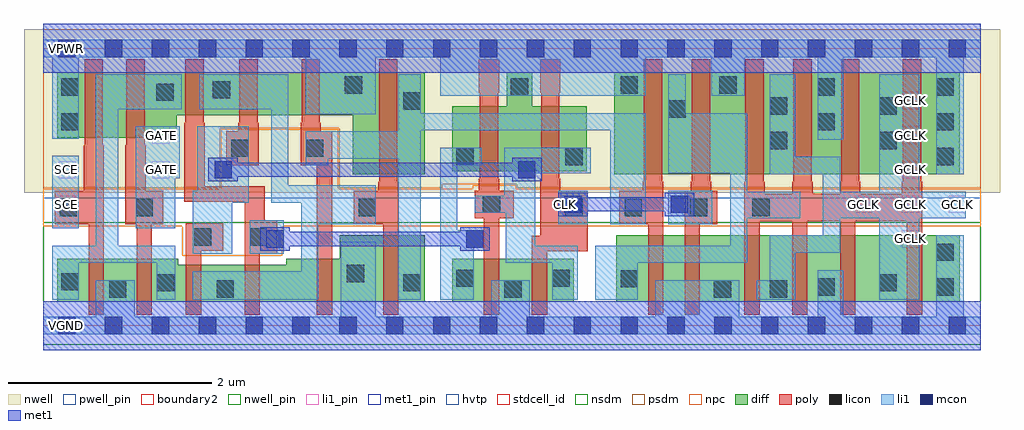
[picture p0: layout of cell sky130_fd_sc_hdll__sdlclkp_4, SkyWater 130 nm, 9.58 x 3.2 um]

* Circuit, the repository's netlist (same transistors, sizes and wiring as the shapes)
* Copyright 2020 The SkyWater PDK Authors
*
* Licensed under the Apache License, Version 2.0 (the "License");
* you may not use this file except in compliance with the License.
* You may obtain a copy of the License at
*
*     https://www.apache.org/licenses/LICENSE-2.0
*
* Unless required by applicable law or agreed to in writing, software
* distributed under the License is distributed on an "AS IS" BASIS,
* WITHOUT WARRANTIES OR CONDITIONS OF ANY KIND, either express or implied.
* See the License for the specific language governing permissions and
* limitations under the License.
*
* SPDX-License-Identifier: Apache-2.0

.SUBCKT sky130_fd_sc_hdll__sdlclkp_4 CLK GATE SCE VGND VNB VPB VPWR GCLK
*.PININFO CLK:I GATE:I SCE:I VGND:I VNB:I VPB:I VPWR:I GCLK:O
MI662 net88 m1 VPWR VPB sky130_fd_pr__pfet_01v8_hvt m=1 w=0.42U l=0.18U mult=1
+ sa=0.265 sb=0.265 sd=0.28 area=0.063 perim=1.14
MI664 M0 clkpos net88 VPB sky130_fd_pr__pfet_01v8_hvt m=1 w=0.42U l=0.18U mult=1
+ sa=0.265 sb=0.265 sd=0.28 area=0.063 perim=1.14
MI659 net76 CLK VPWR VPB sky130_fd_pr__pfet_01v8_hvt m=1 w=1.0U l=0.18U mult=1
+ sa=0.265 sb=0.265 sd=0.28 area=0.063 perim=1.14
MI658 net76 m1 VPWR VPB sky130_fd_pr__pfet_01v8_hvt m=1 w=1.0U l=0.18U mult=1 sa=0.265
+ sb=0.265 sd=0.28 area=0.063 perim=1.14
MI19 m1 M0 VPWR VPB sky130_fd_pr__pfet_01v8_hvt m=1 w=1.0U l=0.18U mult=1 sa=0.265
+ sb=0.265 sd=0.28 area=0.063 perim=1.14
MI22 net63 SCE VPWR VPB sky130_fd_pr__pfet_01v8_hvt m=1 w=0.64U l=0.18U mult=1
+ sa=0.265 sb=0.265 sd=0.28 area=0.063 perim=1.14
MI21 net116 GATE net63 VPB sky130_fd_pr__pfet_01v8_hvt m=1 w=0.64U l=0.18U mult=1
+ sa=0.265 sb=0.265 sd=0.28 area=0.063 perim=1.14
MI47 clkneg clkpos VPWR VPB sky130_fd_pr__pfet_01v8_hvt m=1 w=0.64U l=0.18U mult=1
+ sa=0.265 sb=0.265 sd=0.28 area=0.063 perim=1.14
MI45 clkpos CLK VPWR VPB sky130_fd_pr__pfet_01v8_hvt m=1 w=0.64U l=0.18U mult=1
+ sa=0.265 sb=0.265 sd=0.28 area=0.063 perim=1.14
MI660 GCLK net76 VPWR VPB sky130_fd_pr__pfet_01v8_hvt m=4 w=1.0U l=0.18U mult=1
+ sa=0.265 sb=0.265 sd=0.28 area=0.063 perim=1.14
MI43 net116 clkneg M0 VPB sky130_fd_pr__pfet_01v8_hvt m=1 w=0.42U l=0.18U mult=1
+ sa=0.265 sb=0.265 sd=0.28 area=0.063 perim=1.14
MI42 net116 clkpos M0 VNB sky130_fd_pr__nfet_01v8 m=1 w=0.36U l=0.15U mult=1 sa=0.265
+ sb=0.265 sd=0.28 area=0.063 perim=1.14
MI20 m1 M0 VGND VNB sky130_fd_pr__nfet_01v8 m=1 w=0.65U l=0.15U mult=1 sa=0.265
+ sb=0.265 sd=0.28 area=0.063 perim=1.14
MI655 M0 clkneg net123 VNB sky130_fd_pr__nfet_01v8 m=1 w=0.36U l=0.15U mult=1 sa=0.265
+ sb=0.265 sd=0.28 area=0.063 perim=1.14
MI654 net123 m1 VGND VNB sky130_fd_pr__nfet_01v8 m=1 w=0.42U l=0.15U mult=1 sa=0.265
+ sb=0.265 sd=0.28 area=0.063 perim=1.14
MI24 net116 SCE VGND VNB sky130_fd_pr__nfet_01v8 m=1 w=0.42U l=0.15U mult=1 sa=0.265
+ sb=0.265 sd=0.28 area=0.063 perim=1.14
MI657 net112 CLK VGND VNB sky130_fd_pr__nfet_01v8 m=1 w=0.65U l=0.15U mult=1 sa=0.265
+ sb=0.265 sd=0.28 area=0.063 perim=1.14
MI656 net76 m1 net112 VNB sky130_fd_pr__nfet_01v8 m=1 w=0.65U l=0.15U mult=1 sa=0.265
+ sb=0.265 sd=0.28 area=0.063 perim=1.14
MI23 net116 GATE VGND VNB sky130_fd_pr__nfet_01v8 m=1 w=0.42U l=0.15U mult=1 sa=0.265
+ sb=0.265 sd=0.28 area=0.063 perim=1.14
MI46 clkneg clkpos VGND VNB sky130_fd_pr__nfet_01v8 m=1 w=0.42U l=0.15U mult=1
+ sa=0.265 sb=0.265 sd=0.28 area=0.063 perim=1.14
MI44 clkpos CLK VGND VNB sky130_fd_pr__nfet_01v8 m=1 w=0.42U l=0.15U mult=1 sa=0.265
+ sb=0.265 sd=0.28 area=0.063 perim=1.14
MI653 GCLK net76 VGND VNB sky130_fd_pr__nfet_01v8 m=4 w=0.65U l=0.15U mult=1 sa=0.265
+ sb=0.265 sd=0.28 area=0.063 perim=1.14
.ENDS sky130_fd_sc_hdll__sdlclkp_4

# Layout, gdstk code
import gdstk
lib = gdstk.Library(unit=1e-6, precision=1e-09)
def R(c, l, rs):  # rectangles x0, y0, x1, y1
    for r in rs: c.add(gdstk.rectangle(r[:2], r[2:], *l))
def A(c, l, x, y, w, h, nx, ny, dx, dy):  # array of equal rectangles
    R(c, l, [(x+i*dx, y+j*dy, x+i*dx+w, y+j*dy+h) for i in range(nx) for j in range(ny)])
def P(c, l, *ps):  # polygons
    for p in ps: c.add(gdstk.Polygon(p, *l))
nwell_pin = (64, 16)
nwell = (64, 20)
diff = (65, 20)
poly = (66, 20)
licon = (66, 44)
li1_pin = (67, 16)
li1 = (67, 20)
mcon = (67, 44)
met1_pin = (68, 16)
met1 = (68, 20)
hvtp = (78, 44)
stdcell_id = (81, 4)
nsdm = (93, 44)
psdm = (94, 20)
npc = (95, 20)
pwell_pin = (122, 16)
boundary2 = (236, 0)

sky130_fd_sc_hdll__sdlcl = lib.new_cell('sky130_fd_sc_hdll__sdlclkp_4')
R(sky130_fd_sc_hdll__sdlcl, nwell_pin, [(0.15,2.635,0.32,2.805)])
R(sky130_fd_sc_hdll__sdlcl, nwell, [(-0.19,1.305,9.39,2.91)])
R(sky130_fd_sc_hdll__sdlcl, diff, [(4.015,0.235,5.205,0.655), (5.625,0.235,8.995,0.885), (5.605,1.485,8.995,2.485)])
P(sky130_fd_sc_hdll__sdlcl, diff, [(5.335,2.155),(4.8,2.155),(4.8,2.485),(4.55,2.485),(4.55,2.155),(4.015,2.155),(4.015,1.515),(5.335,1.515)],
  [(3.745,0.885),(2.91,0.885),(2.91,0.655),(2.385,0.655),(2.385,0.595),(1.325,0.595),(1.325,0.655),(0.135,0.655),(0.135,0.235),(3.745,0.235)],
  [(3.745,2.485),(0.135,2.485),(0.135,1.845),(1.31,1.845),(1.31,2.065),(3.035,2.065),(3.035,1.485),(3.745,1.485)])
P(sky130_fd_sc_hdll__sdlcl, poly, [(0.595,1.77),(0.585,1.77),(0.585,2.615),(0.405,2.615),(0.405,1.77),(0.395,1.77),(0.395,1.325),(0.11,1.325),(0.11,0.995),(0.445,0.995),(0.445,0.105),(0.595,0.105)],
  [(1.175,1.325),(1.005,1.325),(1.005,1.77),(0.995,1.77),(0.995,2.615),(0.815,2.615),(0.815,1.77),(0.805,1.77),(0.805,0.995),(0.915,0.995),(0.915,0.105),(1.065,0.105),(1.065,0.995),(1.175,0.995)],
  [(1.765,1.005),(1.4,1.005),(1.4,0.105),(1.55,0.105),(1.55,0.735),(1.765,0.735)],
  [(2.115,1.99),(2.105,1.99),(2.105,2.615),(1.925,2.615),(1.925,1.99),(1.915,1.99),(1.915,1.905),(1.795,1.905),(1.795,1.575),(2.115,1.575)],
  [(2.295,1.035),(2.175,1.035),(2.175,1.365),(1.585,1.365),(1.585,1.99),(1.575,1.99),(1.575,2.615),(1.395,2.615),(1.395,1.99),(1.385,1.99),(1.385,1.215),(1.975,1.215),(1.975,0.105),(2.125,0.105),(2.125,0.705),(2.295,0.705)],
  [(2.835,1.905),(2.725,1.905),(2.725,1.99),(2.715,1.99),(2.715,2.615),(2.535,2.615),(2.535,1.99),(2.525,1.99),(2.525,1.575),(2.685,1.575),(2.685,0.105),(2.835,0.105)],
  [(3.485,1.41),(3.475,1.41),(3.475,2.615),(3.295,2.615),(3.295,1.41),(3.285,1.41),(3.285,1.325),(3.045,1.325),(3.045,0.995),(3.335,0.995),(3.335,0.105),(3.485,0.105)],
  [(4.615,1.325),(4.475,1.325),(4.475,1.44),(4.465,1.44),(4.465,2.285),(4.475,2.285),(4.475,2.615),(4.275,2.615),(4.275,2.285),(4.285,2.285),(4.285,1.44),(4.275,1.44),(4.275,1.325),(4.235,1.325),(4.235,1.055),(4.325,1.055),(4.325,0.105),(4.475,0.105),(4.475,1.055),(4.615,1.055)],
  [(5.345,1.325),(5.075,1.325),(5.075,1.44),(5.065,1.44),(5.065,2.285),(5.075,2.285),(5.075,2.615),(4.875,2.615),(4.875,2.285),(4.885,2.285),(4.885,1.44),(4.875,1.44),(4.875,0.88),(4.795,0.88),(4.795,0.105),(4.945,0.105),(4.945,0.73),(5.345,0.73)],
  [(6.085,1.41),(6.075,1.41),(6.075,2.615),(5.895,2.615),(5.895,1.41),(5.885,1.41),(5.885,1.325),(5.655,1.325),(5.655,0.995),(5.935,0.995),(5.935,0.105),(6.085,0.105)],
  [(6.615,1.325),(6.555,1.325),(6.555,1.41),(6.545,1.41),(6.545,2.615),(6.365,2.615),(6.365,1.41),(6.355,1.41),(6.355,1.325),(6.295,1.325),(6.295,0.105),(6.445,0.105),(6.445,0.995),(6.615,0.995)],
  [(8.625,1.41),(8.615,1.41),(8.615,2.615),(8.435,2.615),(8.435,1.41),(8.425,1.41),(8.425,1.295),(8.02,1.295),(8.02,1.41),(8.01,1.41),(8.01,2.615),(7.83,2.615),(7.83,1.41),(7.82,1.41),(7.82,1.295),(7.55,1.295),(7.55,1.41),(7.54,1.41),(7.54,2.615),(7.36,2.615),(7.36,1.41),(7.35,1.41),(7.35,1.295),(7.08,1.295),(7.08,1.41),(7.07,1.41),(7.07,2.615),(6.89,2.615),(6.89,1.41),(6.88,1.41),(6.88,0.105),(7.03,0.105),(7.03,1.025),(7.35,1.025),(7.35,0.105),(7.5,0.105),(7.5,1.025),(7.82,1.025),(7.82,0.105),(7.97,0.105),(7.97,1.025),(8.475,1.025),(8.475,0.105),(8.625,0.105)])
A(sky130_fd_sc_hdll__sdlcl, licon, 8.765, 1.575, 0.17, 0.17, 1, 3, 0, 0.34)
R(sky130_fd_sc_hdll__sdlcl, licon, [(0.645,0.275,0.815,0.445), (1.7,0.275,1.87,0.445), (4.525,0.275,4.695,0.445), (6.58,0.275,6.75,0.445), (7.13,0.275,7.3,0.445), (7.6,0.295,7.77,0.465), (8.765,0.295,8.935,0.465), (1.115,0.335,1.285,0.505), (3.535,0.335,3.705,0.505), (8.205,0.335,8.375,0.505), (0.175,0.345,0.345,0.515), (5.665,0.375,5.835,0.545), (4.055,0.38,4.225,0.55), (4.995,0.38,5.165,0.55), (2.98,0.425,3.15,0.595), (8.765,0.635,8.935,0.805), (1.48,0.785,1.65,0.955), (2.025,0.785,2.195,0.955), (0.16,1.075,0.33,1.245), (0.905,1.075,1.075,1.245), (3.095,1.075,3.265,1.245), (5.125,1.075,5.295,1.245), (5.705,1.075,5.875,1.245), (6.345,1.075,6.515,1.245), (6.96,1.075,7.13,1.245), (4.315,1.105,4.485,1.275), (4.055,1.575,4.225,1.745), (5.125,1.575,5.295,1.745), (1.845,1.655,2.015,1.825), (2.575,1.655,2.745,1.825), (7.13,1.73,7.3,1.9), (8.205,1.73,8.375,1.9), (0.175,1.915,0.345,2.085), (7.6,1.915,7.77,2.085), (6.135,2.04,6.305,2.21), (7.13,2.07,7.3,2.24), (8.205,2.07,8.375,2.24), (3.535,2.12,3.705,2.29), (1.11,2.205,1.28,2.375), (1.665,2.23,1.835,2.4), (0.175,2.255,0.345,2.425), (4.59,2.255,4.76,2.425), (7.6,2.255,7.77,2.425), (2.96,2.275,3.13,2.445), (5.665,2.275,5.835,2.445), (6.635,2.275,6.805,2.445)])
A(sky130_fd_sc_hdll__sdlcl, li1_pin, 7.965, 1.105, 0.17, 0.17, 3, 1, 0.46, 0)
A(sky130_fd_sc_hdll__sdlcl, li1_pin, 8.425, 1.445, 0.17, 0.17, 1, 3, 0, 0.34)
R(sky130_fd_sc_hdll__sdlcl, li1_pin, [(8.425,0.765,8.595,0.935), (0.15,1.105,0.32,1.275), (0.15,1.445,0.32,1.615), (1.07,1.445,1.24,1.615), (1.07,1.785,1.24,1.955)])
R(sky130_fd_sc_hdll__sdlcl, li1, [(2.025,0.705,2.36,1.035), (0.085,0.955,0.345,1.665), (5.055,0.995,5.345,1.325), (6.135,0.995,6.565,1.325)])
P(sky130_fd_sc_hdll__sdlcl, li1, [(9.2,0.085),(9.035,0.085),(9.035,0.885),(8.765,0.885),(8.765,0.085),(7.85,0.085),(7.85,0.545),(7.6,0.545),(7.6,0.085),(6.83,0.085),(6.83,0.445),(6.005,0.445),(6.005,0.085),(4.775,0.085),(4.775,0.445),(4.395,0.445),(4.395,0.085),(3.265,0.085),(3.265,0.825),(2.92,0.825),(2.92,0.085),(0.895,0.085),(0.895,0.445),(0.515,0.445),(0.515,0.085),(0,0.085),(0,-0.085),(9.2,-0.085)],
  [(9.2,2.805),(0,2.805),(0,2.635),(0.085,2.635),(0.085,1.835),(0.345,1.835),(0.345,2.635),(2.575,2.635),(2.575,2.075),(3.265,2.075),(3.265,2.635),(3.895,2.635),(3.895,2.255),(5.915,2.255),(5.915,2.635),(6.555,2.635),(6.555,2.255),(6.885,2.255),(6.885,2.635),(7.6,2.635),(7.6,1.825),(7.85,1.825),(7.85,2.635),(8.765,2.635),(8.765,1.485),(9.035,1.485),(9.035,2.635),(9.2,2.635)],
  [(9.055,1.315),(8.595,1.315),(8.595,2.465),(8.205,2.465),(8.205,1.315),(7.82,1.315),(7.82,1.655),(7.38,1.655),(7.38,2.465),(7.13,2.465),(7.13,1.485),(7.65,1.485),(7.65,0.885),(7.13,0.885),(7.13,0.445),(7,0.445),(7,0.255),(7.38,0.255),(7.38,0.715),(7.82,0.715),(7.82,1.055),(8.205,1.055),(8.205,0.255),(8.595,0.255),(8.595,1.055),(9.055,1.055)],
  [(7.43,1.315),(6.91,1.315),(6.91,2.085),(6.305,2.085),(6.305,2.465),(6.135,2.465),(6.135,1.495),(6.74,1.495),(6.74,0.785),(5.415,0.785),(5.415,0.255),(5.835,0.255),(5.835,0.615),(6.91,0.615),(6.91,1.055),(7.43,1.055)],
  [(5.915,2.085),(3.705,2.085),(3.705,2.465),(3.485,2.465),(3.485,1.905),(2.575,1.905),(2.575,1.575),(2.795,1.575),(2.795,1.635),(3.485,1.635),(3.485,0.255),(3.705,0.255),(3.705,1.915),(5.565,1.915),(5.565,0.995),(5.915,0.995)],
  [(5.375,1.745),(4.525,1.745),(4.525,1.275),(4.235,1.275),(4.235,1.105),(4.54,1.105),(4.54,0.615),(4.995,0.615),(4.995,0.255),(5.245,0.255),(5.245,0.785),(4.83,0.785),(4.83,1.495),(5.375,1.495)],
  [(4.32,0.935),(4.065,0.935),(4.065,1.575),(4.305,1.575),(4.305,1.745),(3.895,1.745),(3.895,0.255),(4.225,0.255),(4.225,0.765),(4.32,0.765)],
  [(3.265,1.375),(2.405,1.375),(2.405,2.465),(1.53,2.465),(1.53,2.125),(2.235,2.125),(2.235,1.205),(2.53,1.205),(2.53,0.535),(1.465,0.535),(1.465,0.255),(2.7,0.255),(2.7,0.995),(3.265,0.995)],
  [(2.015,1.955),(1.51,1.955),(1.51,1.325),(1.465,1.325),(1.465,0.705),(1.855,0.705),(1.855,1.205),(2.015,1.205)],
  [(1.36,2.465),(0.515,2.465),(0.515,0.785),(0.085,0.785),(0.085,0.255),(0.345,0.255),(0.345,0.615),(1.115,0.615),(1.115,0.255),(1.295,0.255),(1.295,0.785),(0.735,0.785),(0.735,2.125),(1.36,2.125)],
  [(1.34,1.955),(0.905,1.955),(0.905,0.955),(1.295,0.955),(1.295,1.445),(1.34,1.445)])
A(sky130_fd_sc_hdll__sdlcl, mcon, 0.145, -0.085, 0.17, 0.17, 20, 2, 0.46, 2.72)
R(sky130_fd_sc_hdll__sdlcl, mcon, [(2.19,0.765,2.36,0.935), (4.15,0.765,4.32,0.935), (5.115,1.105,5.285,1.275), (6.16,1.105,6.33,1.275), (1.68,1.445,1.85,1.615), (4.66,1.445,4.83,1.615)])
R(sky130_fd_sc_hdll__sdlcl, met1_pin, [(0.15,-0.085,0.32,0.085), (5.075,1.105,5.245,1.275), (0.15,2.635,0.32,2.805)])
R(sky130_fd_sc_hdll__sdlcl, met1, [(0,-0.24,9.2,0.24), (0,2.48,9.2,2.96)])
P(sky130_fd_sc_hdll__sdlcl, met1, [(4.38,0.965),(4.09,0.965),(4.09,0.92),(2.42,0.92),(2.42,0.965),(2.13,0.965),(2.13,0.735),(2.42,0.735),(2.42,0.78),(4.09,0.78),(4.09,0.735),(4.38,0.735)],
  [(6.39,1.305),(6.1,1.305),(6.1,1.26),(5.345,1.26),(5.345,1.305),(5.055,1.305),(5.055,1.075),(5.345,1.075),(5.345,1.12),(6.1,1.12),(6.1,1.075),(6.39,1.075)],
  [(4.89,1.645),(4.6,1.645),(4.6,1.6),(1.91,1.6),(1.91,1.645),(1.62,1.645),(1.62,1.415),(1.91,1.415),(1.91,1.46),(4.6,1.46),(4.6,1.415),(4.89,1.415)])
R(sky130_fd_sc_hdll__sdlcl, hvtp, [(0,1.25,9.2,2.72)])
R(sky130_fd_sc_hdll__sdlcl, stdcell_id, [(0,0,9.2,2.72)])
R(sky130_fd_sc_hdll__sdlcl, nsdm, [(0,-0.19,9.2,1.015)])
P(sky130_fd_sc_hdll__sdlcl, psdm, [(9.2,2.91),(0,2.91),(0,1.355),(1.735,1.355),(1.735,1.935),(2.905,1.935),(2.905,1.355),(3.915,1.355),(3.915,1.385),(4.645,1.385),(4.645,1.355),(9.2,1.355)])
P(sky130_fd_sc_hdll__sdlcl, npc, [(9.2,1.345),(4.635,1.345),(4.635,1.375),(4.215,1.375),(4.215,1.345),(2.895,1.345),(2.895,1.925),(1.745,1.925),(1.745,1.345),(0,1.345),(0,0.975),(1.365,0.975),(1.365,0.685),(2.345,0.685),(2.345,0.975),(9.2,0.975)])
R(sky130_fd_sc_hdll__sdlcl, pwell_pin, [(0.15,-0.085,0.32,0.085)])
R(sky130_fd_sc_hdll__sdlcl, boundary2, [(0,0,9.2,2.72)])
sky130_fd_sc_hdll__sdlcl.add(gdstk.Label('SCE', (0.23,1.53), layer=67, texttype=5))
sky130_fd_sc_hdll__sdlcl.add(gdstk.Label('GATE', (1.155,1.87), layer=67, texttype=5))
sky130_fd_sc_hdll__sdlcl.add(gdstk.Label('GATE', (1.155,1.53), layer=67, texttype=5))
sky130_fd_sc_hdll__sdlcl.add(gdstk.Label('SCE', (0.23,1.19), layer=67, texttype=5))
sky130_fd_sc_hdll__sdlcl.add(gdstk.Label('GCLK', (8.51,1.19), layer=67, texttype=5))
sky130_fd_sc_hdll__sdlcl.add(gdstk.Label('GCLK', (8.51,2.21), layer=67, texttype=5))
sky130_fd_sc_hdll__sdlcl.add(gdstk.Label('GCLK', (8.51,1.87), layer=67, texttype=5))
sky130_fd_sc_hdll__sdlcl.add(gdstk.Label('GCLK', (8.51,1.53), layer=67, texttype=5))
sky130_fd_sc_hdll__sdlcl.add(gdstk.Label('GCLK', (8.05,1.19), layer=67, texttype=5))
sky130_fd_sc_hdll__sdlcl.add(gdstk.Label('GCLK', (8.97,1.19), layer=67, texttype=5))
sky130_fd_sc_hdll__sdlcl.add(gdstk.Label('GCLK', (8.51,0.85), layer=67, texttype=5))
sky130_fd_sc_hdll__sdlcl.add(gdstk.Label('VGND', (0.23,0), layer=68, texttype=5))
sky130_fd_sc_hdll__sdlcl.add(gdstk.Label('VPWR', (0.23,2.72), layer=68, texttype=5))
sky130_fd_sc_hdll__sdlcl.add(gdstk.Label('CLK', (5.125,1.19), layer=68, texttype=5))
sky130_fd_sc_hdll__sdlcl.add(gdstk.Label('VPB', (0.235,2.72), layer=64, texttype=5))
sky130_fd_sc_hdll__sdlcl.add(gdstk.Label('VNB', (0.235,0), layer=64, texttype=59))
sky130_fd_sc_hdll__sdlcl.add(gdstk.Label('sdlclkp_4', (0,0), layer=83, texttype=44))

lib.write_gds('sky130_fd_sc_hdll__sdlclkp_4.gds')
